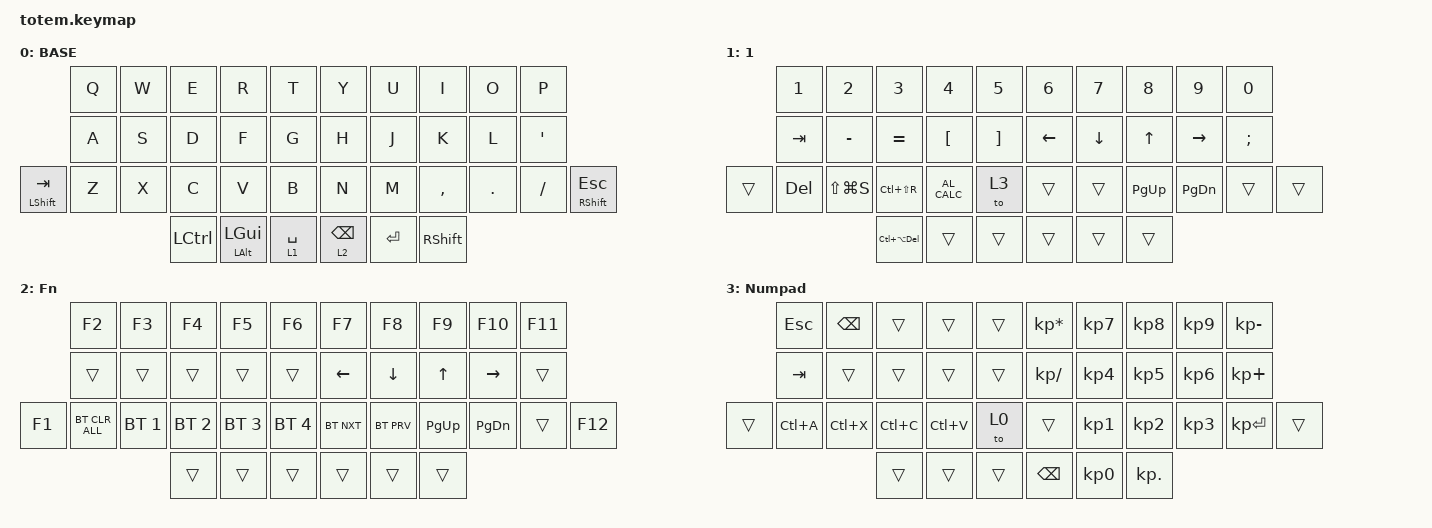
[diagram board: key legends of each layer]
//
//                                                        ▀▀▀▀▀     ▀▀▀▀▀          ▀▀█▀▀
//                                                        ▄▀▀▀▄  ▄  ▄▀▀▀▄  ▄  ▄▀▀▀▄  █  ▄▀▀▀▄
//                                                        █   █  █  █   █  █  █   █  █  █   █
//                                                         ▀▀▀   █   ▀▀▀   █   ▀▀▀   ▀   ▀▀▀
//                                                               █      ▄▄▄█▄▄▄    █   █  
//                                                               ▀      █  █  █     █▄█
//                                                             ▀▀▀▀▀    █  █  █      ▀
//                                                                      ▀  ▀  ▀
//
// ▄▄▄▄▄▄▄▄▄▄▄▄▄▄▄▄▄▄▄▄▄▄▄▄▄▄▄▄▄▄▄▄▄▄▄▄▄▄▄▄▄▄▄▄▄▄▄▄▄▄▄▄▄▄▄▄▄▄▄▄▄▄▄▄▄▄▄▄▄▄▄▄▄▄▄▄▄▄▄▄▄▄▄▄▄▄▄▄▄▄▄▄▄▄▄▄▄▄▄▄▄▄▄▄▄▄▄▄▄▄▄▄▄▄▄▄▄▄▄▄▄▄▄▄▄▄▄▄▄▄▄▄▄▄▄▄▄▄▄▄▄▄▄▄▄▄▄▄▄

#include <behaviors.dtsi>
#include <dt-bindings/zmk/bt.h>
#include <dt-bindings/zmk/keys.h>

#define BASE 0
#define NAV  1
#define SYM  2
#define ADJ  3
#define TVP1 4
#define TVP2 5

&mt {
    quick-tap-ms = <100>;
    global-quick-tap;
    flavor = "tap-preferred";
    tapping-term-ms = <170>;
};

/ {
    combos {
        compatible = "zmk,combos";

        combo_esc {
            timeout-ms = <50>;
            key-positions = <0 1>;
            bindings = <&kp ESC>;
        };
    };

    keymap {
        compatible = "zmk,keymap";

        // ▄▄▄▄▄▄▄▄▄▄▄▄▄▄▄▄▄▄▄▄▄▄▄▄▄▄▄▄▄▄▄▄▄▄▄▄▄▄▄▄▄▄▄▄▄▄▄▄▄▄▄▄▄▄▄▄▄▄▄▄▄▄▄▄▄▄▄▄▄▄▄▄▄▄▄▄▄▄▄▄▄▄▄▄▄▄▄▄▄▄▄▄▄▄▄▄▄▄▄▄▄▄▄▄▄▄▄▄▄▄▄▄▄▄▄▄▄▄▄▄▄▄▄▄▄▄▄▄▄▄▄▄▄▄▄▄▄▄▄▄▄▄▄▄▄▄▄▄▄

        base_layer {
            // ┏━━━━━━━━━━━━━━━━━━━━━━━━━━━━━━━━━━━━━━━┓

            label = "BASE";

            // ┗━━━━━━━━━━━━━━━━━━━━━━━━━━━━━━━━━━━━━━━┛
            //             ┏━━━━━━━━━━━┳━━━━━━━━━━━┳━━━━━━━━━━━┳━━━━━━━━━━━┳━━━━━━━━━━━┓   ┏━━━━━━━━━━━┳━━━━━━━━━━━┳━━━━━━━━━━━┳━━━━━━━━━━━┳━━━━━━━━━━━┓
            //             ┃     Q     ┃     W     ┃     F     ┃     P     ┃     G     ┃   ┃     J     ┃     L     ┃     U     ┃     Y     ┃     ;     ┃
            //             ┣━━━━━━━━━━━╋━━━━━━━━━━━╋━━━━━━━━━━━╋━━━━━━━━━━━╋━━━━━━━━━━━┫   ┣━━━━━━━━━━━╋━━━━━━━━━━━╋━━━━━━━━━━━╋━━━━━━━━━━━╋━━━━━━━━━━━┫
            //             ┃     A     ┃     R     ┃     S     ┃     T     ┃     D     ┃   ┃     H     ┃     N     ┃     E     ┃     I     ┃     O     ┃
            // ┏━━━━━━━━━━━╋━━━━━━━━━━━╋━━━━━━━━━━━╋━━━━━━━━━━━╋━━━━━━━━━━━╋━━━━━━━━━━━┫   ┣━━━━━━━━━━━╋━━━━━━━━━━━╋━━━━━━━━━━━╋━━━━━━━━━━━╋━━━━━━━━━━━╋━━━━━━━━━━━┓
            // ┃     Q     ┃     Z     ┃     X     ┃     C     ┃     V     ┃     B     ┃   ┃     K     ┃     M     ┃     ,     ┃     .     ┃     /     ┃     \     ┃
            // ┗━━━━━━━━━━━┻━━━━━━━━━━━┻━━━━━━━━━━━╋━━━━━━━━━━━╋━━━━━━━━━━━╋━━━━━━━━━━━┫   ┣━━━━━━━━━━━╋━━━━━━━━━━━╋━━━━━━━━━━━╋━━━━━━━━━━━┻━━━━━━━━━━━┻━━━━━━━━━━━┛
            //                                     ┃    DEL    ┃    TAB    ┃    SPC    ┃   ┃   ENTER   ┃           ┃   BSPC    ┃
            //                                     ┗━━━━━━━━━━━┻━━━━━━━━━━━┻━━━━━━━━━━━┛   ┗━━━━━━━━━━━┻━━━━━━━━━━━┻━━━━━━━━━━━┛

            bindings = <
                &kp Q  &kp W  &kp E             &kp R                  &kp T          &kp Y            &kp U      &kp I            &kp O    &kp P
                &kp A  &kp S  &kp D             &kp F                  &kp G          &kp H            &kp J      &kp K            &kp L    &kp SQT
&mt LSHIFT TAB  &kp Z  &kp X  &kp C             &kp V                  &kp B          &kp N            &kp M      &kp COMMA        &kp DOT  &kp FSLH  &mt RIGHT_SHIFT ESCAPE
                              &kp LEFT_CONTROL  &mt LEFT_ALT LEFT_GUI  &lt 1 SPACE    &lt 2 BACKSPACE  &kp ENTER  &kp RIGHT_SHIFT
            >;
        };

        // ▄▄▄▄▄▄▄▄▄▄▄▄▄▄▄▄▄▄▄▄▄▄▄▄▄▄▄▄▄▄▄▄▄▄▄▄▄▄▄▄▄▄▄▄▄▄▄▄▄▄▄▄▄▄▄▄▄▄▄▄▄▄▄▄▄▄▄▄▄▄▄▄▄▄▄▄▄▄▄▄▄▄▄▄▄▄▄▄▄▄▄▄▄▄▄▄▄▄▄▄▄▄▄▄▄▄▄▄▄▄▄▄▄▄▄▄▄▄▄▄▄▄▄▄▄▄▄▄▄▄▄▄▄▄▄▄▄▄▄▄▄▄▄▄▄▄▄▄▄

        LAYER1 {
            // ┏━━━━━━━━━━━━━━━━━━━━━━━━━━━━━━━━━━━━━━━┓

            label = "1";

            // ┗━━━━━━━━━━━━━━━━━━━━━━━━━━━━━━━━━━━━━━━┛
            //             ┏━━━━━━━━━━━┳━━━━━━━━━━━┳━━━━━━━━━━━┳━━━━━━━━━━━┳━━━━━━━━━━━┓   ┏━━━━━━━━━━━┳━━━━━━━━━━━┳━━━━━━━━━━━┳━━━━━━━━━━━┳━━━━━━━━━━━┓
            //             ┃           ┃           ┃     UP    ┃           ┃     {     ┃   ┃     }     ┃     7     ┃     8     ┃     9     ┃     +     ┃
            //             ┣━━━━━━━━━━━╋━━━━━━━━━━━╋━━━━━━━━━━━╋━━━━━━━━━━━╋━━━━━━━━━━━┫   ┣━━━━━━━━━━━╋━━━━━━━━━━━╋━━━━━━━━━━━╋━━━━━━━━━━━╋━━━━━━━━━━━┫
            //             ┃   SHIFT   ┃   LEFT    ┃    DOWN   ┃   RIGHT   ┃     [     ┃   ┃     ]     ┃     4     ┃     5     ┃     6     ┃     -     ┃
            // ┏━━━━━━━━━━━╋━━━━━━━━━━━╋━━━━━━━━━━━╋━━━━━━━━━━━╋━━━━━━━━━━━╋━━━━━━━━━━━┫   ┣━━━━━━━━━━━╋━━━━━━━━━━━╋━━━━━━━━━━━╋━━━━━━━━━━━╋━━━━━━━━━━━╋━━━━━━━━━━━┓
            // ┃           ┃           ┃   P UP    ┃  C LOCK   ┃  P DOWN   ┃     (     ┃   ┃     )     ┃     1     ┃     2     ┃     3     ┃     *     ┃           ┃
            // ┗━━━━━━━━━━━┻━━━━━━━━━━━┻━━━━━━━━━━━╋━━━━━━━━━━━╋━━━━━━━━━━━╋━━━━━━━━━━━┫   ┣━━━━━━━━━━━╋━━━━━━━━━━━╋━━━━━━━━━━━╋━━━━━━━━━━━┻━━━━━━━━━━━┻━━━━━━━━━━━┛
            //                                     ┃           ┃    TAB    ┃    SPC    ┃   ┃    DEL    ┃     0     ┃           ┃
            //                                     ┗━━━━━━━━━━━┻━━━━━━━━━━━┻━━━━━━━━━━━┛   ┗━━━━━━━━━━━┻━━━━━━━━━━━┻━━━━━━━━━━━┛

            bindings = <
        &kp NUMBER_1  &kp NUMBER_2   &kp NUMBER_3        &kp NUMBER_4      &kp N5               &kp NUMBER_6  &kp N7    &kp N8        &kp N9         &kp N0
        &kp TAB       &kp MINUS      &kp EQUAL           &kp LEFT_BRACKET  &kp RIGHT_BRACKET    &kp LEFT      &kp DOWN  &kp UP_ARROW  &kp RIGHT      &kp SEMICOLON
&trans  &kp DEL       &kp LS(LG(S))  &kp LC(LS(R))       &kp C_AL_CALC     &to 3                &trans        &trans    &kp PAGE_UP   &kp PAGE_DOWN  &trans         &trans
                                     &kp LC(LA(DELETE))  &trans            &trans               &trans        &trans    &trans
            >;
        };

        // ▄▄▄▄▄▄▄▄▄▄▄▄▄▄▄▄▄▄▄▄▄▄▄▄▄▄▄▄▄▄▄▄▄▄▄▄▄▄▄▄▄▄▄▄▄▄▄▄▄▄▄▄▄▄▄▄▄▄▄▄▄▄▄▄▄▄▄▄▄▄▄▄▄▄▄▄▄▄▄▄▄▄▄▄▄▄▄▄▄▄▄▄▄▄▄▄▄▄▄▄▄▄▄▄▄▄▄▄▄▄▄▄▄▄▄▄▄▄▄▄▄▄▄▄▄▄▄▄▄▄▄▄▄▄▄▄▄▄▄▄▄▄▄▄▄▄▄▄▄

        LAYER2 {
            // ┏━━━━━━━━━━━━━━━━━━━━━━━━━━━━━━━━━━━━━━━┓

            label = "Fn";

            // ┗━━━━━━━━━━━━━━━━━━━━━━━━━━━━━━━━━━━━━━━┛
            //             ┏━━━━━━━━━━━┳━━━━━━━━━━━┳━━━━━━━━━━━┳━━━━━━━━━━━┳━━━━━━━━━━━┓   ┏━━━━━━━━━━━┳━━━━━━━━━━━┳━━━━━━━━━━━┳━━━━━━━━━━━┳━━━━━━━━━━━┓
            //             ┃     !     ┃     @     ┃     #     ┃     $     ┃     %     ┃   ┃     ˆ     ┃     &     ┃     Ü     ┃     '     ┃     "     ┃
            //             ┣━━━━━━━━━━━╋━━━━━━━━━━━╋━━━━━━━━━━━╋━━━━━━━━━━━╋━━━━━━━━━━━┫   ┣━━━━━━━━━━━╋━━━━━━━━━━━╋━━━━━━━━━━━╋━━━━━━━━━━━╋━━━━━━━━━━━┫
            //             ┃     Ä     ┃           ┃    SZ     ┃           ┃           ┃   ┃   MUTE    ┃   YEN     ┃   EURO    ┃  POUND    ┃     Ö     ┃
            // ┏━━━━━━━━━━━╋━━━━━━━━━━━╋━━━━━━━━━━━╋━━━━━━━━━━━╋━━━━━━━━━━━╋━━━━━━━━━━━┫   ┣━━━━━━━━━━━╋━━━━━━━━━━━╋━━━━━━━━━━━╋━━━━━━━━━━━╋━━━━━━━━━━━╋━━━━━━━━━━━┓
            // ┃           ┃  EMAIL1   ┃  EMAIL2   ┃           ┃           ┃           ┃   ┃   VOL-    ┃   VOL+    ┃   LAST    ┃   NEXT    ┃     \     ┃           ┃
            // ┗━━━━━━━━━━━┻━━━━━━━━━━━┻━━━━━━━━━━━╋━━━━━━━━━━━╋━━━━━━━━━━━╋━━━━━━━━━━━┫   ┣━━━━━━━━━━━╋━━━━━━━━━━━╋━━━━━━━━━━━╋━━━━━━━━━━━┻━━━━━━━━━━━┻━━━━━━━━━━━┛
            //                                     ┃           ┃    GIF    ┃    ADJ    ┃   ┃           ┃           ┃           ┃
            //                                     ┗━━━━━━━━━━━┻━━━━━━━━━━━┻━━━━━━━━━━━┛   ┗━━━━━━━━━━━┻━━━━━━━━━━━┻━━━━━━━━━━━┛

            bindings = <
        &kp F2          &kp F3        &kp F4        &kp F5        &kp F6          &kp F7      &kp F8      &kp F9        &kp F10        &kp F11
        &trans          &trans        &trans        &trans        &trans          &kp LEFT    &kp DOWN    &kp UP_ARROW  &kp RIGHT      &trans
&kp F1  &bt BT_CLR_ALL  &bt BT_SEL 1  &bt BT_SEL 2  &bt BT_SEL 3  &bt BT_SEL 4    &bt BT_NXT  &bt BT_PRV  &kp PAGE_UP   &kp PAGE_DOWN  &trans   &kp F12
                                      &trans        &trans        &trans          &trans      &trans      &trans
            >;
        };

        // ▄▄▄▄▄▄▄▄▄▄▄▄▄▄▄▄▄▄▄▄▄▄▄▄▄▄▄▄▄▄▄▄▄▄▄▄▄▄▄▄▄▄▄▄▄▄▄▄▄▄▄▄▄▄▄▄▄▄▄▄▄▄▄▄▄▄▄▄▄▄▄▄▄▄▄▄▄▄▄▄▄▄▄▄▄▄▄▄▄▄▄▄▄▄▄▄▄▄▄▄▄▄▄▄▄▄▄▄▄▄▄▄▄▄▄▄▄▄▄▄▄▄▄▄▄▄▄▄▄▄▄▄▄▄▄▄▄▄▄▄▄▄▄▄▄▄▄▄▄

        LAYER3 {
            // ┏━━━━━━━━━━━━━━━━━━━━━━━━━━━━━━━━━━━━━━━┓

            label = "Numpad";

            // ┗━━━━━━━━━━━━━━━━━━━━━━━━━━━━━━━━━━━━━━━┛
            //             ┏━━━━━━━━━━━┳━━━━━━━━━━━┳━━━━━━━━━━━┳━━━━━━━━━━━┳━━━━━━━━━━━┓   ┏━━━━━━━━━━━┳━━━━━━━━━━━┳━━━━━━━━━━━┳━━━━━━━━━━━┳━━━━━━━━━━━┓
            //             ┃   RESET   ┃ BT CLEAR  ┃  OUT TOG  ┃           ┃           ┃   ┃           ┃    F7     ┃    F8     ┃    F9     ┃    F12    ┃
            //             ┣━━━━━━━━━━━╋━━━━━━━━━━━╋━━━━━━━━━━━╋━━━━━━━━━━━╋━━━━━━━━━━━┫   ┣━━━━━━━━━━━╋━━━━━━━━━━━╋━━━━━━━━━━━╋━━━━━━━━━━━╋━━━━━━━━━━━┫
            //             ┃ BOOTLOAD  ┃ BT NEXT   ┃           ┃           ┃           ┃   ┃           ┃    F4     ┃    F5     ┃    F6     ┃    F11    ┃
            // ┏━━━━━━━━━━━╋━━━━━━━━━━━╋━━━━━━━━━━━╋━━━━━━━━━━━╋━━━━━━━━━━━╋━━━━━━━━━━━┫   ┣━━━━━━━━━━━╋━━━━━━━━━━━╋━━━━━━━━━━━╋━━━━━━━━━━━╋━━━━━━━━━━━╋━━━━━━━━━━━┓
            // ┃           ┃           ┃ BT PREV   ┃           ┃           ┃           ┃   ┃           ┃    F1     ┃    F2     ┃    F3     ┃    F10    ┃           ┃
            // ┗━━━━━━━━━━━┻━━━━━━━━━━━┻━━━━━━━━━━━╋━━━━━━━━━━━╋━━━━━━━━━━━╋━━━━━━━━━━━┫   ┣━━━━━━━━━━━╋━━━━━━━━━━━╋━━━━━━━━━━━╋━━━━━━━━━━━┻━━━━━━━━━━━┻━━━━━━━━━━━┛
            //                                     ┃           ┃           ┃           ┃   ┃           ┃           ┃           ┃
            //                                     ┗━━━━━━━━━━━┻━━━━━━━━━━━┻━━━━━━━━━━━┛   ┗━━━━━━━━━━━┻━━━━━━━━━━━┻━━━━━━━━━━━┛

            bindings = <
        &kp ESCAPE  &kp BACKSPACE  &trans     &trans     &trans    &kp KP_MULTIPLY  &kp KP_NUMBER_7  &kp KP_NUMBER_8  &kp KP_NUMBER_9  &kp KP_MINUS
        &kp TAB     &trans         &trans     &trans     &trans    &kp KP_DIVIDE    &kp KP_NUMBER_4  &kp KP_NUMBER_5  &kp KP_NUMBER_6  &kp KP_PLUS
&trans  &kp LC(A)   &kp LC(X)      &kp LC(C)  &kp LC(V)  &to 0     &trans           &kp KP_NUMBER_1  &kp KP_NUMBER_2  &kp KP_NUMBER_3  &kp KP_ENTER  &trans
                                   &trans     &trans     &trans    &kp BACKSPACE    &kp KP_NUMBER_0  &kp KP_DOT
            >;
        };

        // ▄▄▄▄▄▄▄▄▄▄▄▄▄▄▄▄▄▄▄▄▄▄▄▄▄▄▄▄▄▄▄▄▄▄▄▄▄▄▄▄▄▄▄▄▄▄▄▄▄▄▄▄▄▄▄▄▄▄▄▄▄▄▄▄▄▄▄▄▄▄▄▄▄▄▄▄▄▄▄▄▄▄▄▄▄▄▄▄▄▄▄▄▄▄▄▄▄▄▄▄▄▄▄▄▄▄▄▄▄▄▄▄▄▄▄▄▄▄▄▄▄▄▄▄▄▄▄▄▄▄▄▄▄▄▄▄▄▄▄▄▄▄▄▄▄▄▄▄▄
        // ▄▄▄▄▄▄▄▄▄▄▄▄▄▄▄▄▄▄▄▄▄▄▄▄▄▄▄▄▄▄▄▄▄▄▄▄▄▄▄▄▄▄▄▄▄▄▄▄▄▄▄▄▄▄▄▄▄▄▄▄▄▄▄▄▄▄▄▄▄▄▄▄▄▄▄▄▄▄▄▄▄▄▄▄▄▄▄▄▄▄▄▄▄▄▄▄▄▄▄▄▄▄▄▄▄▄▄▄▄▄▄▄▄▄▄▄▄▄▄▄▄▄▄▄▄▄▄▄▄▄▄▄▄▄▄▄▄▄▄▄▄▄▄▄▄▄▄▄▄
    };
};
